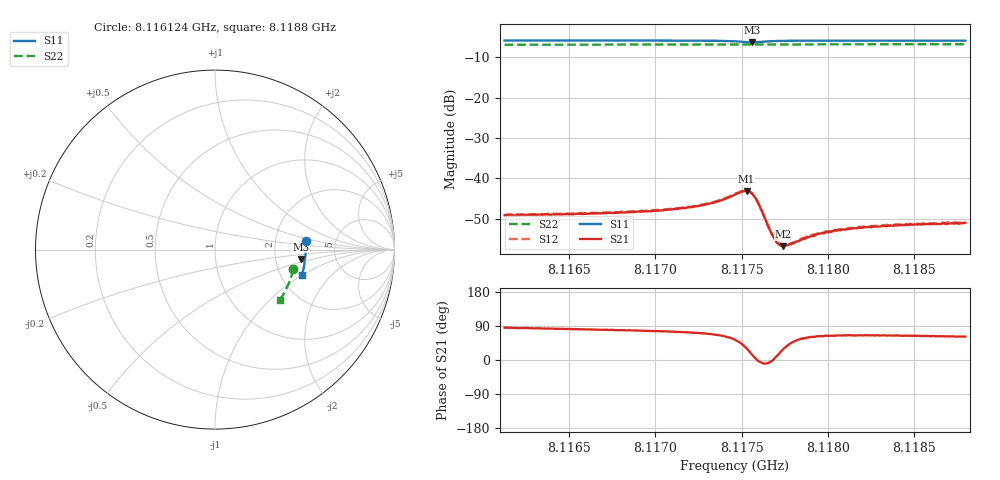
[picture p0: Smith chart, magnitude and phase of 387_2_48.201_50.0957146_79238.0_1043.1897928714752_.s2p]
#  HZ  S  RI  R  50.00
! Rohde & Schwarz Vector Network Analyzer
! Rohde-Schwarz,ZNB20-2Port,1311601062101988,3.16
! Created: UTC 3/20/2024, 11:53:21 AM
! freq[Hz]  re:S11  im:S11  re:S21  im:S21  re:S12  im:S12  re:S22  im:S22
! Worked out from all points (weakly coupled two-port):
!   401 points, 8.116124 GHz to 8.1188 GHz, reference 50 ohm
!   highest |S21| = -43.07 dB at 8.117529 GHz (marker M1); lowest = -56.7 dB at 8.117743 GHz (marker M2)
!   lowest |S11| = -6.4 dB at 8.117562 GHz (marker M3), VSWR 2.85, Z = 139 - j18.9 ohm
!   |S11| at or under -10 dB: nowhere
!   |S22| runs from -7.0 to -6.8 dB; largest |S21 - S12| = 0.00019
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8.1161237e9  0.5047 0.0491  0.000298 0.0035  0.000362 0.00358  0.4355 -0.1096
8.1165719e9  0.5063 0.0152  0.000568 0.0036  0.000615 0.0037  0.4279 -0.1398
8.1170202e9  0.5052 -0.0195  0.000962 0.0039  0.00103 0.00392  0.4183 -0.1694
8.1171941e9  0.5036 -0.0339  0.00129 0.0042  0.00138 0.00427  0.4139 -0.181
8.1172811e9  0.5021 -0.0415  0.0016 0.00443  0.00168 0.0045  0.4116 -0.1866
8.1173747e9  0.499 -0.0507  0.00223 0.00481  0.00237 0.00493  0.4092 -0.1925
8.1174617e9  0.4916 -0.0594  0.00378 0.00506  0.00386 0.00513  0.4062 -0.1983
8.1175019e9  0.4851 -0.0612  0.0051 0.0046  0.00525 0.00465  0.405 -0.2007
8.1175286e9  0.4799 -0.0591  0.00604 0.00358  0.00618 0.00365  0.404 -0.2023
8.1175621e9  0.4772 -0.0521  0.00626 0.00151  0.0064 0.00144  0.4031 -0.2038
8.1175755e9  0.4782 -0.0492  0.00589 0.000676  0.00601 0.000647  0.4028 -0.2046
8.1175955e9  0.4817 -0.046  0.005 -0.000183  0.00506 -0.000215  0.4024 -0.2056
8.1176624e9  0.4933 -0.0488  0.00234 -0.000257  0.00236 -0.00028  0.4009 -0.2099
8.1176892e9  0.4957 -0.052  0.00183 0.000104  0.00187 8.7e-05  0.4004 -0.2118
8.117716e9  0.497 -0.0551  0.00148 0.000405  0.00153 0.000426  0.3995 -0.2135
8.1177427e9  0.498 -0.0583  0.00127 0.000712  0.0013 0.000691  0.3988 -0.2153
8.1177829e9  0.4986 -0.0628  0.00113 0.00108  0.00115 0.00106  0.3976 -0.2178
8.11791e9  0.4987 -0.0748  0.000935 0.00171  0.000983 0.00175  0.3935 -0.226
8.1179568e9  0.4981 -0.079  0.000951 0.00186  0.000992 0.00188  0.392 -0.2288
8.1180839e9  0.4967 -0.0893  0.001 0.0021  0.00101 0.00216  0.3879 -0.2367
8.1183582e9  0.4925 -0.1105  0.00112 0.00235  0.00115 0.00236  0.3782 -0.2533
8.1187998e9  0.4838 -0.1427  0.00133 0.00251  0.00135 0.0025  0.3609 -0.2793
